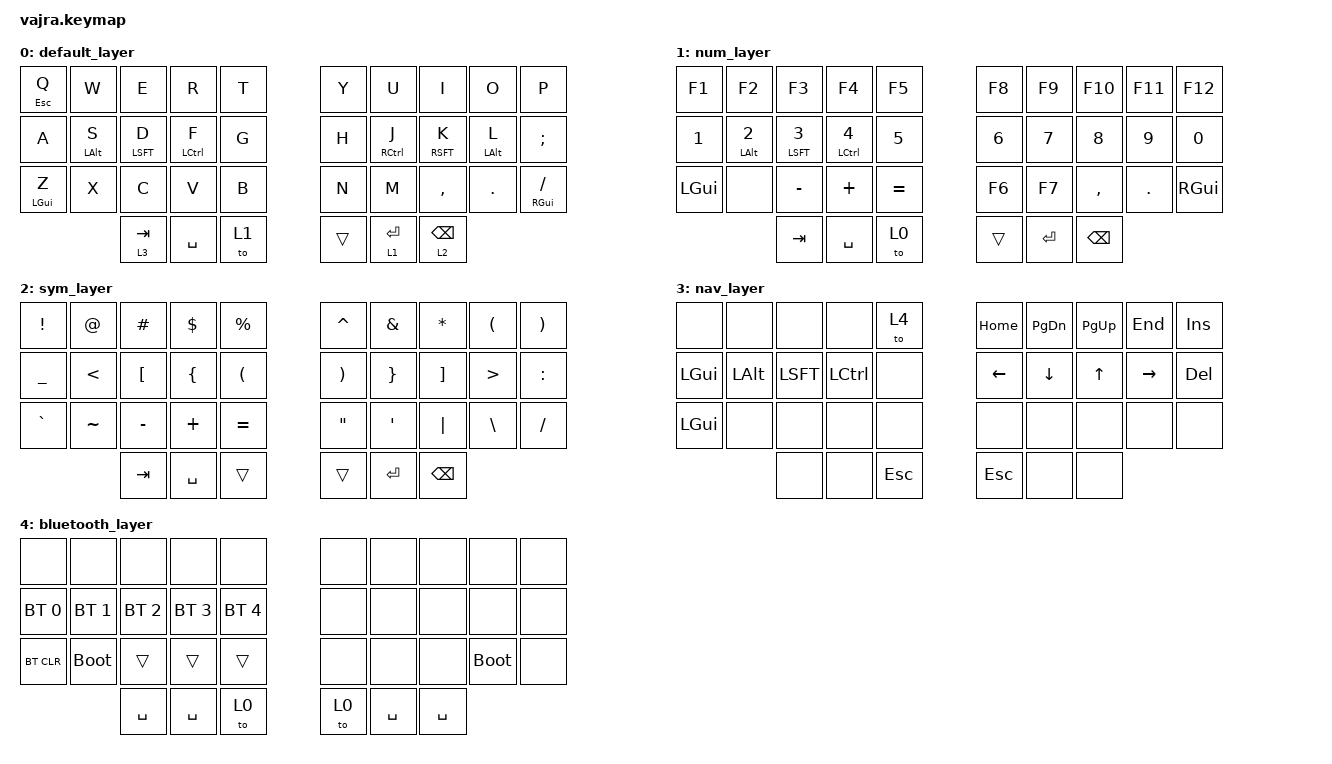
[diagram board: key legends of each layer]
#include <behaviors.dtsi>
#include <dt-bindings/zmk/keys.h>
#include <dt-bindings/zmk/bt.h>

/ {
    	keymap {
		compatible = "zmk,keymap";

        default_layer {
            bindings = <
                &mt ESC Q     &kp W         &kp E         &kp R         &kp T         &kp Y   &kp U         &kp I         &kp O         &kp P
                &kp A         &mt LALT S    &mt LSFT D    &mt LCTL F    &kp G         &kp H   &mt RCTL J    &mt RSFT K    &mt LALT L    &kp SEMI
                &mt LGUI Z    &kp X         &kp C         &kp V         &kp B         &kp N   &kp M         &kp COMMA     &kp DOT       &mt RGUI SLASH
                              &lt 3 TAB     &kp SPACE     &to 1                               &trans        &lt 1 ENTER   &lt 2 BSPC              
            >;
        };
        num_layer {
            bindings = <
                &kp F1      &kp F2        &kp F3        &kp F4        &kp F5        &kp F8    &kp F9      &kp F10     &kp F11     &kp F12
                &kp N1      &mt LALT N2   &mt LSFT N3   &mt LCTL N4   &kp N5        &kp N6    &kp N7      &kp N8      &kp N9      &kp N0
                &kp LGUI    &none         &kp MINUS     &kp PLUS      &kp EQUAL     &kp F6    &kp F7      &kp COMMA   &kp DOT     &kp RGUI
                            &kp TAB       &kp SPACE     &to 0                                 &trans      &kp ENTER     &kp BSPC               
            >;
        };
        sym_layer {
            bindings = <
                &kp EXCL   &kp AT     &kp HASH    &kp DLLR    &kp PERCENT   &kp CARET   &kp AMPS   &kp ASTRK   &kp LPAR    &kp RPAR
                &kp UNDER  &kp LT     &kp LBKT    &kp LBRC    &kp LPAR      &kp RPAR    &kp RBRC   &kp RBKT    &kp GT      &kp COLON
                &kp GRAVE  &kp TILDE  &kp MINUS   &kp PLUS    &kp EQUAL     &kp DQT     &kp SQT    &kp PIPE    &kp BSLH    &kp SLASH
                           &kp TAB    &kp SPACE   &trans                                &trans     &kp ENTER   &kp BSPC              
            >;
        };
        nav_layer {
            bindings = <
                &none     &none     &none     &none     &to 4           &kp HOME   &kp PG_DN   &kp PG_UP   &kp END     &kp INS
                &kp LGUI  &kp LALT  &kp LSFT  &kp LCTL  &none           &kp LEFT   &kp DOWN    &kp UP      &kp RIGHT   &kp DEL
                &kp LGUI  &none     &none     &none     &none           &none      &none       &none       &none       &none
                          &none     &none     &kp ESC                              &kp ESC     &none       &none 
            >;
        };

        bluetooth_layer {
            bindings = <
                &none        &none        &none        &none        &none          &none     &none     &none     &none       &none  
                &bt BT_SEL 0 &bt BT_SEL 1 &bt BT_SEL 2 &bt BT_SEL 3 &bt BT_SEL 4   &none     &none     &none     &none       &none  
                &bt BT_CLR   &bootloader  &trans       &trans       &trans         &none     &none     &none     &bootloader &none 
                                          &kp SPACE    &kp SPACE    &to 0                              &to 0     &kp SPACE   &kp SPACE
            >;  
        };
	};
};
